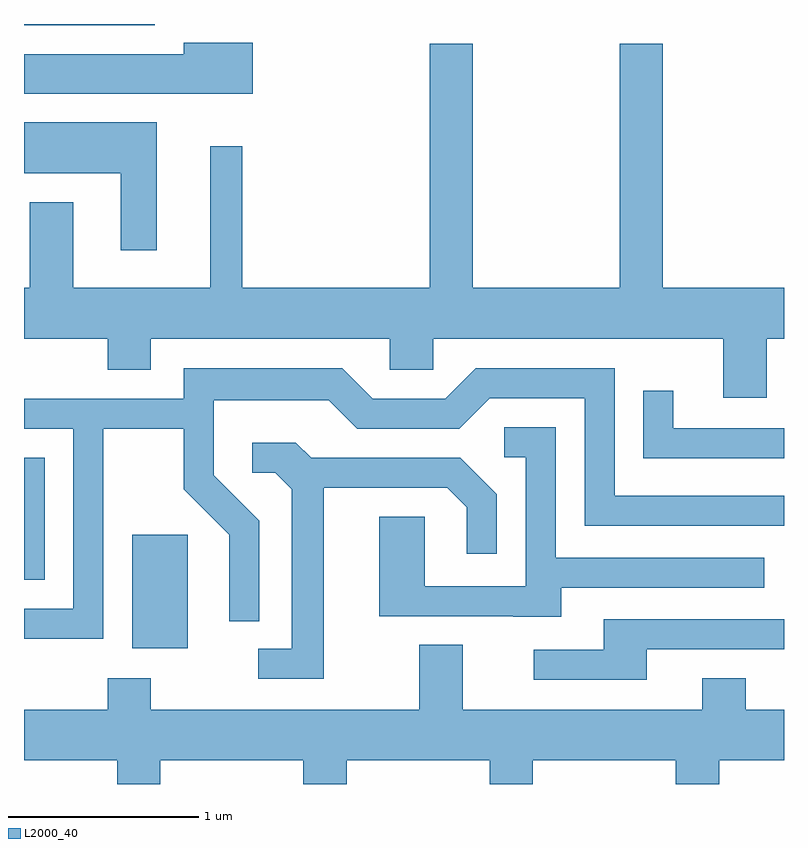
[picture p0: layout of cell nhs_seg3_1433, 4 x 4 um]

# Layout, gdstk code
import gdstk
lib = gdstk.Library(unit=1e-6, precision=1e-09)
def R(c, l, rs):  # rectangles x0, y0, x1, y1
    for r in rs: c.add(gdstk.rectangle(r[:2], r[2:], *l))
def P(c, l, *ps):  # polygons
    for p in ps: c.add(gdstk.Polygon(p, *l))
L2000_40 = (2000, 40)

nhs_seg3_1433 = lib.new_cell('nhs_seg3_1433')
R(nhs_seg3_1433, L2000_40, [(228.181,1126.606,228.474,1127.204), (227.611,1126.966,227.719,1127.609), (227.611,1129.886,228.299,1129.892)])
P(nhs_seg3_1433, L2000_40, [(228.814,1129.794),(228.451,1129.794),(228.451,1129.734),(227.611,1129.734),(227.611,1129.526),(228.814,1129.526)],
  [(228.759,1129.248),(228.591,1129.248),(228.591,1128.504),(227.869,1128.504),(227.869,1128.954),(227.641,1128.954),(227.641,1128.504),(227.611,1128.504),(227.611,1128.236),(228.051,1128.236),(228.051,1128.071),(228.279,1128.071),(228.279,1128.236),(229.536,1128.236),(229.536,1128.071),(229.764,1128.071),(229.764,1128.236),(231.291,1128.236),(231.291,1127.926),(231.519,1127.926),(231.519,1128.236),(231.611,1128.236),(231.611,1128.504),(230.974,1128.504),(230.974,1129.789),(230.746,1129.789),(230.746,1128.504),(229.974,1128.504),(229.974,1129.789),(229.746,1129.789),(229.746,1128.504),(228.759,1128.504)],
  [(228.309,1129.374),(227.611,1129.374),(227.611,1129.106),(228.121,1129.106),(228.121,1128.701),(228.309,1128.701)],
  [(228.029,1127.761),(228.451,1127.761),(228.451,1127.444),(228.691,1127.204),(228.691,1126.748),(228.849,1126.748),(228.849,1127.277),(228.609,1127.517),(228.609,1127.911),(229.214,1127.911),(229.364,1127.761),(229.902,1127.761),(230.062,1127.921),(230.561,1127.921),(230.561,1127.251),(231.611,1127.251),(231.611,1127.409),(230.719,1127.409),(230.719,1128.079),(229.989,1128.079),(229.829,1127.919),(229.447,1127.919),(229.287,1128.079),(228.451,1128.079),(228.451,1127.919),(227.611,1127.919),(227.611,1127.761),(227.871,1127.761),(227.871,1126.814),(227.611,1126.814),(227.611,1126.656),(228.029,1126.656)],
  [(231.611,1127.764),(231.029,1127.764),(231.029,1127.963),(230.871,1127.963),(230.871,1127.606),(231.611,1127.606)],
  [(230.439,1126.926),(231.508,1126.926),(231.508,1127.084),(230.409,1127.084),(230.409,1127.769),(230.138,1127.769),(230.138,1127.611),(230.251,1127.611),(230.251,1126.934),(229.719,1126.934),(229.719,1127.299),(229.481,1127.299),(229.481,1126.776),(230.185,1126.776),(230.185,1126.771),(230.439,1126.771)],
  [(229.189,1127.451),(229.839,1127.451),(229.941,1127.349),(229.941,1127.103),(230.099,1127.103),(230.099,1127.417),(229.907,1127.609),(229.122,1127.609),(229.042,1127.689),(228.813,1127.689),(228.813,1127.531),(228.934,1127.531),(229.021,1127.444),(229.021,1126.604),(228.843,1126.604),(228.843,1126.446),(229.189,1126.446)],
  [(230.889,1126.601),(231.611,1126.601),(231.611,1126.759),(230.661,1126.759),(230.661,1126.599),(230.293,1126.599),(230.293,1126.441),(230.889,1126.441)],
  [(228.329,1126.016),(229.081,1126.016),(229.081,1125.892),(229.309,1125.892),(229.309,1126.016),(230.061,1126.016),(230.061,1125.892),(230.289,1125.892),(230.289,1126.016),(231.041,1126.016),(231.041,1125.892),(231.269,1125.892),(231.269,1126.016),(231.611,1126.016),(231.611,1126.284),(231.409,1126.284),(231.409,1126.449),(231.181,1126.449),(231.181,1126.284),(229.919,1126.284),(229.919,1126.624),(229.691,1126.624),(229.691,1126.284),(228.279,1126.284),(228.279,1126.449),(228.051,1126.449),(228.051,1126.284),(227.611,1126.284),(227.611,1126.016),(228.101,1126.016),(228.101,1125.892),(228.329,1125.892)])

lib.write_gds('nhs_seg3_1433.gds')
